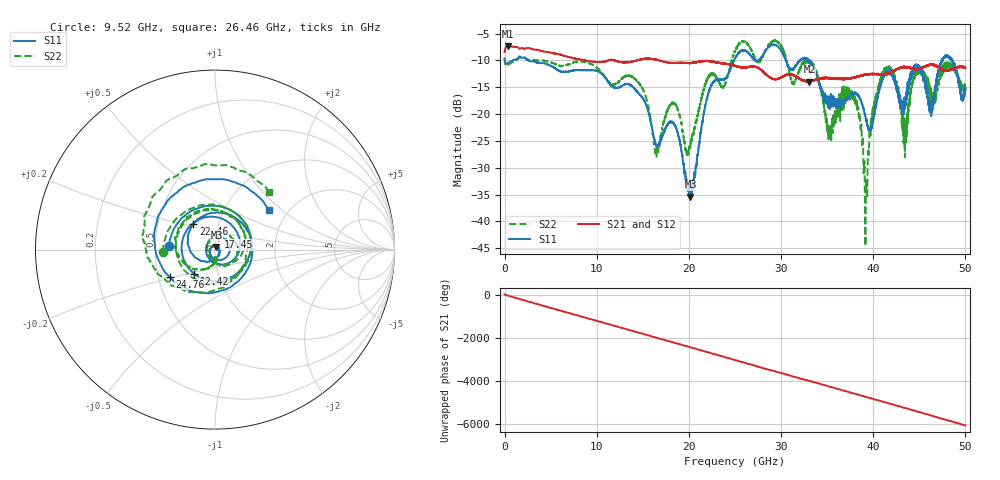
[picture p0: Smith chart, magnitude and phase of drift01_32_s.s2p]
!Created with skrf (http://scikit-rf.org).
# Hz S RI R 50.0
!freq ReS11 ImS11 ReS21 ImS21 ReS12 ImS12 ReS22 ImS22
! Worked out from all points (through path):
!   10001 points, 300 kHz to 50 GHz, reference 50 ohm
!   highest |S21| = -7.33 dB at 325.3 MHz (marker M1); lowest = -14.0 dB at 33.08 GHz (marker M2)
!   group delay of S21, straight-line fit = 335 ps
!   lowest |S11| = -35.4 dB at 20.17 GHz (marker M3), VSWR 1.03, Z = 50.8 + j1.51 ohm
!   |S11| at or under -10 dB: 2.562 GHz to 24.9 GHz (22.34 GHz wide, 163 % of centre); 30.51 GHz to 32.01 GHz (1.503 GHz wide, 4.81 % of centre); 33.03 GHz to 47.42 GHz (14.39 GHz wide, 35.8 % of centre) (the widest 3 of 20)
!   |S22| runs from -44.6 to -6.3 dB; largest |S21 - S12| = 0.0084
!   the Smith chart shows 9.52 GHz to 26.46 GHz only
!   S11 on the Smith chart (normalised r, x): 9.52 GHz: 0.59, +0.02; 12.42 GHz: 0.77, -0.21; 17.45 GHz: 1.02, +0.15; 22.46 GHz: 0.76, +0.22; 24.76 GHz: 0.57, -0.19; 26.46 GHz: 1.61, +0.81
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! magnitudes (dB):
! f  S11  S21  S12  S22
! 300 kHz  -9.6  -8.4  -8.5  -9.5
! 325.3 MHz  -10.5  -7.3  -7.3  -10.9
! 8.335 GHz  -11.8  -9.9  -9.9  -10.2
! 9.52 GHz  -11.8  -10.2  -10.2  -10.8
! 12.42 GHz  -15.0  -10.2  -10.2  -13.9
! 16.67 GHz  -26.0  -10.0  -10.0  -27.1
! 17.45 GHz  -22.7  -10.3  -10.3  -20.6
! 20.17 GHz  -35.4  -10.5  -10.5  -25.6
! 22.46 GHz  -14.5  -10.2  -10.2  -12.6
! 24.76 GHz  -10.6  -10.9  -10.9  -9.3
! 25 GHz  -9.6  -11.0  -11.0  -8.3
! 26.46 GHz  -8.6  -11.2  -11.2  -7.1
! 33.08 GHz  -10.3  -14.0  -13.9  -10.4
! 33.34 GHz  -10.8  -13.8  -13.8  -10.5
! 35.25 GHz  -17.5  -13.2  -13.3  -23.1
! 37.97 GHz  -15.9  -13.1  -13.1  -17.3
! 39.17 GHz  -20.6  -12.6  -12.7  -41.5
! 40.14 GHz  -19.9  -12.5  -12.5  -17.8
! 41.67 GHz  -12.2  -12.3  -12.4  -11.9
! 43.45 GHz  -17.0  -11.3  -11.3  -25.5
! 44.88 GHz  -10.9  -11.5  -11.6  -11.8
! 50 GHz  -15.4  -11.4  -11.4  -14.8
